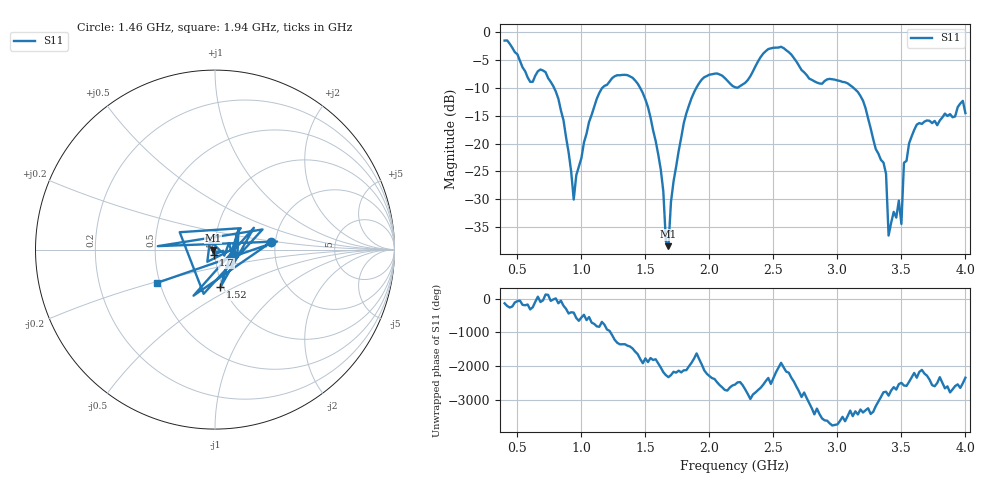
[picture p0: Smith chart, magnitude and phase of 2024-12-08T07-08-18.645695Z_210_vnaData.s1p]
!Created with skrf (http://scikit-rf.org).
# Hz S RI R 50.0
!freq ReS11 ImS11
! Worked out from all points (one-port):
!   181 points, 400 MHz to 4 GHz, reference 50 ohm
!   lowest |S11| = -38.4 dB at 1.68 GHz (marker M1), VSWR 1.02, Z = 48.8 - j0.237 ohm
!   |S11| at or under -10 dB: 786.5 MHz to 1.164 GHz (377.4 MHz wide, 38.7 % of centre); 1.459 GHz to 1.898 GHz (439.4 MHz wide, 26.2 % of centre); 3.125 GHz to end of sweep
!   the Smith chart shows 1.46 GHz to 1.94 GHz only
!   S11 on the Smith chart (normalised r, x): 1.46 GHz: 1.90, +0.17; 1.52 GHz: 0.97, -0.43; 1.7 GHz: 0.98, -0.06; 1.94 GHz: 0.48, -0.21
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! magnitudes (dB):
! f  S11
! 400 MHz  -1.5
! 600 MHz  -8.9
! 720 MHz  -7.2
! 860 MHz  -15.8
! 940 MHz  -30.1
! 1.12 GHz  -12.0
! 1.3 GHz  -7.7
! 1.46 GHz  -10.1
! 1.52 GHz  -13.5
! 1.62 GHz  -24.7
! 1.66 GHz  -37.6
! 1.68 GHz  -38.4
! 1.7 GHz  -30.4
! 1.76 GHz  -21.3
! 1.94 GHz  -8.5
! 2.2 GHz  -9.9
! 2.46 GHz  -3.0
! 2.66 GHz  -4.7
! 3.1 GHz  -9.5
! 3.36 GHz  -23.4
! 3.38 GHz  -25.4
! 3.4 GHz  -36.5
! 3.48 GHz  -30.2
! 3.5 GHz  -34.4
! 3.52 GHz  -23.5
! 3.56 GHz  -20.0
! 3.64 GHz  -16.3
! 4 GHz  -14.5
